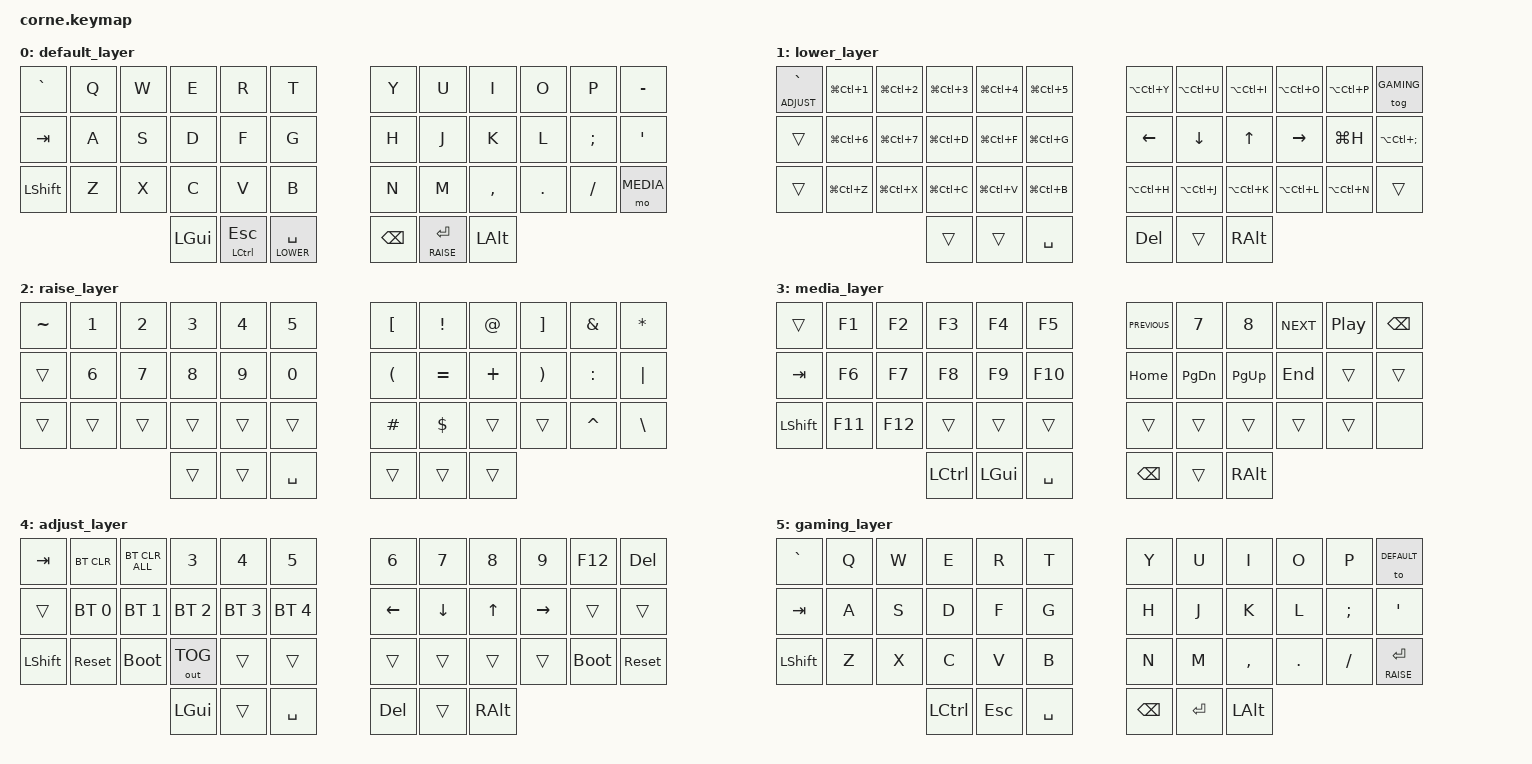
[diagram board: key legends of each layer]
/*
 * Copyright (c) 2020 The ZMK Contributors
 *
 * SPDX-License-Identifier: MIT
 * To enter bootloader: LOWER(hold space) ADJUST(hold grave) sys_reset (Z)
 */

#include <behaviors.dtsi>
#include <dt-bindings/zmk/keys.h>
#include <dt-bindings/zmk/bt.h>
#include <dt-bindings/zmk/outputs.h>
#define DEFAULT 0
#define LOWER 1
#define RAISE 2
#define MEDIA 3
#define ADJUST 4
#define GAMING 5


/ {
    macros {
        // Macro for Host 1 (BT Profile 0)
        // Sends Ctrl+Alt+Shift+1, THEN switches BT to profile 0
        to_host_1: to_host_1 {
            compatible = "zmk,behavior-macro";
            #binding-cells = <0>;
            wait-ms = <10>; // Small delay to ensure OS registers modifiers
            tap-ms = <10>;
            bindings
                = <&macro_press &kp LCTRL &kp LALT &kp LSHIFT>
                , <&macro_tap &kp N1>
                , <&macro_release &kp LCTRL &kp LALT &kp LSHIFT>
                , <&macro_tap &bt BT_SEL 0>;
        };

        // Macro for Host 2 (BT Profile 1)
        // Sends Ctrl+Alt+Shift+2, THEN switches BT to profile 1
        to_host_2: to_host_2 {
            compatible = "zmk,behavior-macro";
            #binding-cells = <0>;
            wait-ms = <10>;
            tap-ms = <10>;
            bindings
                = <&macro_press &kp LCTRL &kp LALT &kp LSHIFT>
                , <&macro_tap &kp N2>
                , <&macro_release &kp LCTRL &kp LALT &kp LSHIFT>
                , <&macro_tap &bt BT_SEL 1>;
        };

        // Macro for Host 3 (BT Profile 2)
        // Sends Ctrl+Alt+Shift+3, THEN switches BT to profile 2
        to_host_3: to_host_3 {
            compatible = "zmk,behavior-macro";
            #binding-cells = <0>;
            wait-ms = <10>;
            tap-ms = <10>;
            bindings
                = <&macro_press &kp LCTRL &kp LALT &kp LSHIFT>
                , <&macro_tap &kp N3>
                , <&macro_release &kp LCTRL &kp LALT &kp LSHIFT>
                , <&macro_tap &bt BT_SEL 2>;
        };
    };
    combos {
        compatible = "zmk,combos";

        // RT keys (4+5) -> Trigger Macro 1
        combo_rt_bt2 {
            timeout-ms = <50>;
            key-positions = <4 5>;
            bindings = <&to_host_1>;  // Changed from &bt BT_SEL 0
        };

        // FG keys (16+17) -> Trigger Macro 2
        combo_fg_bt1 {
            timeout-ms = <50>;
            key-positions = <16 17>;
            bindings = <&to_host_2>;  // Changed from &bt BT_SEL 1
        };

        // VB keys (28+29) -> Trigger Macro 3
        combo_vb_bt3 {
            timeout-ms = <50>;
            key-positions = <28 29>;
            bindings = <&to_host_3>;
        };
    };

        behaviors {
                lt_space: layer_tap_space {
                        compatible = "zmk,behavior-hold-tap";
                        #binding-cells = <2>;
                        flavor = "balanced";
                        tapping-term-ms = <200>;
                        quick-tap-ms = <175>;
                        bindings = <&mo>, <&kp>;
                };
        };

        keymap {
                compatible = "zmk,keymap";

                default_layer {
// -----------------------------------------------------------------------------------------
// |  TAB |  Q  |  W  |  E  |  R  |  T  |   |  Y  |  U   |  I  |  O  |  P  | BKSP |
// | CTRL |  A  |  S  |  D  |  F  |  G  |   |  H  |  J   |  K  |  L  |  ;  |  '   |
// | SHFT |  Z  |  X  |  C  |  V  |  B  |   |  N  |  M   |  ,  |  .  |  /  | ESC  |
//                    | GUI | LWR | SPC |   | ENT | RSE  | ALT |
                        bindings = <
   &kp GRAVE &kp Q &kp W &kp E &kp R &kp T        &kp Y &kp U  &kp I     &kp O   &kp P    &kp MINUS
   &kp TAB &kp A &kp S &kp D &kp F &kp G          &kp H &kp J  &kp K     &kp L   &kp SEMI &kp SQT
   &kp LSHFT &kp Z &kp X &kp C &kp V &kp B        &kp N &kp M  &kp COMMA &kp DOT &kp FSLH &mo MEDIA
         &kp LGUI &mt LCTRL ESC &lt_space LOWER SPACE   &kp BSPC &lt RAISE RET &kp LALT
                        >;
                };


                lower_layer {
// -----------------------------------------------------------------------------------------
// |      |  1  |  2  |  3  |  4  |  5  |   |  6  |  7  |  8  |  9  |  0  | BKSP |
// |      | BT1 | BT2 | BT3 | BT4 | BT5 |   | LFT | DWN |  UP | RGT |     |      |
// |      |     |     |     |     |     |   |     |     |     |     |     |      |
//                    | GUI |     | SPC |   | ENT |     | ALT |
                        bindings = <
   &lt ADJUST GRAVE  &kp LG(LC(N1))  &kp LG(LC(N2)) &kp LG(LC(N3)) &kp LG(LC(N4)) &kp LG(LC(N5))         &kp LA(LC(Y))   &kp LA(LC(U))  &kp LA(LC(I)) &kp LA(LC(O))    &kp LA(LC(P)) &tog GAMING
   &trans  &kp LG(LC(N6))  &kp LG(LC(N7)) &kp LG(LC(D)) &kp LG(LC(F)) &kp LG(LC(G))         &kp LEFT        &kp DOWN        &kp UP        &kp RIGHT        &kp LG(H)        &kp LA(LC(SEMI))
   &trans  &kp LG(LC(Z))  &kp LG(LC(X)) &kp LG(LC(C)) &kp LG(LC(V)) &kp LG(LC(B))         &kp LA(LC(H))   &kp LA(LC(J))   &kp LA(LC(K)) &kp LA(LC(L))    &kp LA(LC(N)) &trans
                                                        &trans   &trans  &kp SPACE      &kp DEL  &trans   &kp RALT
                        >;
                };

                raise_layer {
// -----------------------------------------------------------------------------------------
// |      |  !  |  @  |  #  |  $  |  %  |   |  [  |  !  |  @  |  ]  |  &  |  *   |
// |      |     |     |     |     |     |   |  (  |  =  |  +  |  )  |  :  |  "|" |
// |      |     |     |     |     |     |   |  #  |  $  |  ,  |  .  |  ^  |  \   |
//                    | GUI |     | SPC |   | ENT |     | ALT |
                        bindings = <
   &kp TILDE &kp N1  &kp N2 &kp N3   &kp N4 &kp N5       &kp LBKT  &kp EXCL  &kp AT      &kp RBKT &kp AMPS  &kp STAR
   &trans     &kp N6  &kp N7 &kp N8   &kp N9 &kp N0       &kp LPAR  &kp EQUAL &kp PLUS &kp RPAR &kp COLON &kp PIPE
   &trans     &trans  &trans &trans   &trans &trans       &kp HASH  &kp DLLR  &trans   &trans   &kp CARET &kp BSLH
                        &trans   &trans   &kp SPACE       &trans   &trans    &trans
                        >;
                };
                media_layer {
                        bindings = <
   &trans    &kp F1  &kp F2 &kp F3 &kp F4 &kp F5         &kp C_PREVIOUS   &kp N7   &kp N8 &kp C_NEXT    &kp C_PLAY_PAUSE      &kp BSPC
   &kp TAB     &kp F6  &kp F7 &kp F8 &kp F9 &kp F10       &kp HOME &kp PG_DN &kp PG_UP &kp END &trans      &trans
   &kp LSHFT  &kp F11  &kp F12 &trans &trans &trans        &trans   &trans   &trans &trans    &trans &none
                                           &kp LCTRL     &kp LGUI      &kp SPACE            &kp BSPC &trans  &kp RALT
                        >;
                };

                adjust_layer {
// ----------------------------------------------------------------------------------------
// |  TAB |  1  |  2  |  3  |  4  |  5  |   |  6  |  7  |  8  |  9  |  0  | BKSP |
// | BTCLR| BT1 | BT2 | BT3 | BT4 | BT5 |   | LFT | DWN |  UP | RGT |     |      |
// | SHFT |     |     |     |     |     |   |     |     |     |     |     |      |
//                    | GUI |     | SPC |   | ENT |     | ALT |
                        bindings = <
   &kp TAB    &bt BT_CLR  &bt BT_CLR_ALL       &kp N3       &kp N4       &kp N5         &kp N6   &kp N7   &kp N8 &kp N9    &kp F12      &kp DEL
   &trans &bt BT_SEL 0    &bt BT_SEL 1 &bt BT_SEL 2 &bt BT_SEL 3 &bt BT_SEL 4   &kp LEFT &kp DOWN &kp UP &kp RIGHT &trans      &trans
   &kp LSHFT  &sys_reset      &bootloader  &out OUT_TOG &trans       &trans         &trans   &trans   &trans &trans    &bootloader &sys_reset
                          	       &kp LGUI     &trans       &kp SPACE      &kp DEL &trans   &kp RALT
                        >;
                };

                gaming_layer {
// -----------------------------------------------------------------------------------------
// |  TAB |  Q  |  W  |  E  |  R  |  T  |   |  Y  |  U   |  I  |  O  |  P  | BKSP |
// | CTRL |  A  |  S  |  D  |  F  |  G  |   |  H  |  J   |  K  |  L  |  ;  |  '   |
// | SHFT |  Z  |  X  |  C  |  V  |  B  |   |  N  |  M   |  ,  |  .  |  /  | ESC  |
//                    | GUI | LWR | SPC |   | ENT | RSE  | ALT |
                        bindings = <
   &kp GRAVE &kp Q &kp W &kp E &kp R &kp T        &kp Y &kp U  &kp I     &kp O   &kp P    &to DEFAULT
   &kp TAB &kp A &kp S &kp D &kp F &kp G          &kp H &kp J  &kp K     &kp L   &kp SEMI &kp SQT
   &kp LSHFT &kp Z &kp X &kp C &kp V &kp B        &kp N &kp M  &kp COMMA &kp DOT &kp FSLH &lt RAISE RET
         &kp LCTRL &kp ESC &kp SPACE                &kp BSPC &kp RET &kp LALT
                        >;
                };
        };
};
